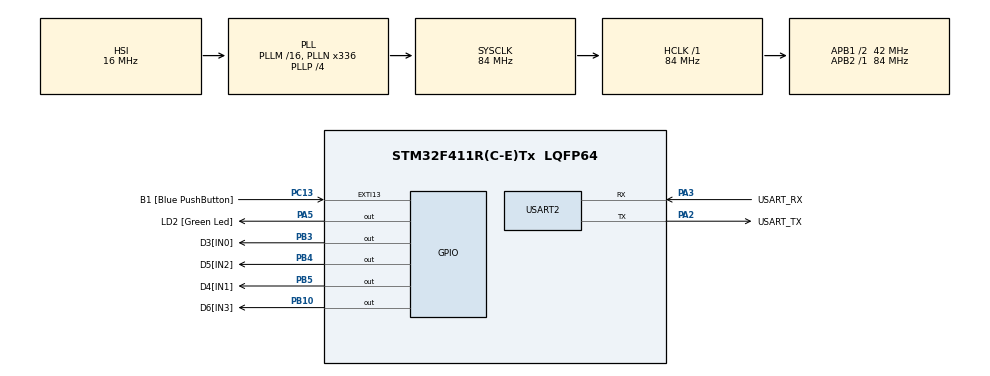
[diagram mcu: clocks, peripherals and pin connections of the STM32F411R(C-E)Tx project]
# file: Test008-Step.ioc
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Mcu.Family=STM32F4
Mcu.Name=STM32F411R(C-E)Tx
Mcu.Package=LQFP64
NVIC.PriorityGroup=NVIC_PRIORITYGROUP_0
PA13.GPIO_Label=TMS
PA13.Mode=Serial_Wire
PA13.Signal=SYS_JTMS-SWDIO
PA14.GPIO_Label=TCK
PA14.Mode=Serial_Wire
PA14.Signal=SYS_JTCK-SWCLK
PA2.GPIO_Label=USART_TX
PA2.Mode=Asynchronous
PA2.Signal=USART2_TX
PA3.GPIO_Label=USART_RX
PA3.Mode=Asynchronous
PA3.Signal=USART2_RX
PA5.GPIO_Label=LD2 [Green Led]
PA5.Signal=GPIO_Output
PB10.GPIO_Label=D6[IN3]
PB10.Signal=GPIO_Output
PB3.GPIO_Label=D3[IN0]
PB3.Signal=GPIO_Output
PB4.GPIO_Label=D5[IN2]
PB4.Signal=GPIO_Output
PB5.GPIO_Label=D4[IN1]
PB5.Signal=GPIO_Output
PC13-ANTI_TAMP.GPIO_Label=B1 [Blue PushButton]
PC13-ANTI_TAMP.GPIO_ModeDefaultEXTI=GPIO_MODE_IT_FALLING
PC13-ANTI_TAMP.Signal=GPXTI13
PC14-OSC32_IN.Mode=LSE-External-Oscillator
PC14-OSC32_IN.Signal=RCC_OSC32_IN
PC15-OSC32_OUT.Mode=LSE-External-Oscillator
PC15-OSC32_OUT.Signal=RCC_OSC32_OUT
PH0\ -\ OSC_IN.Mode=HSE-External-Clock-Source
PH0\ -\ OSC_IN.Signal=RCC_OSC_IN
PH1\ -\ OSC_OUT.Mode=HSE-External-Clock-Source
PH1\ -\ OSC_OUT.Signal=RCC_OSC_OUT
ProjectManager.HeapSize=0x200
ProjectManager.StackSize=0x400
ProjectManager.TargetToolchain=STM32CubeIDE
RCC.48MHZClocksFreq_Value=84000000
RCC.AHBFreq_Value=84000000
RCC.APB1CLKDivider=RCC_HCLK_DIV2
RCC.APB1Freq_Value=42000000
RCC.APB1TimFreq_Value=84000000
RCC.APB2Freq_Value=84000000
RCC.APB2TimFreq_Value=84000000
RCC.CortexFreq_Value=84000000
RCC.FLatency-AdvancedSettings=FLASH_LATENCY_2
RCC.HCLKFreq_Value=84000000
RCC.HSE_VALUE=8000000
RCC.HSI_VALUE=16000000
RCC.PLLN=336
RCC.PLLP=RCC_PLLP_DIV4
RCC.SYSCLKFreq_VALUE=84000000
RCC.SYSCLKSource=RCC_SYSCLKSOURCE_PLLCLK
RCC.VCOOutputFreq_Value=336000000
TIM2.Prescaler=84-1
USART2.VirtualMode=VM_ASYNC
VP_TIM2_VS_ClockSourceINT.Mode=Internal
board=NUCLEO-F411RE

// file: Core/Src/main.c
/* USER CODE BEGIN Header */
/**
  ******************************************************************************
  * @file           : main.c
  * @brief          : Main program body
  ******************************************************************************
  * @attention
  *
  * Copyright (c) 2025 STMicroelectronics.
  * All rights reserved.
  *
  * This software is licensed under terms that can be found in the LICENSE file
  * in the root directory of this software component.
  * If no LICENSE file comes with this software, it is provided AS-IS.
  *
  ******************************************************************************
  */
/* USER CODE END Header */
#include "main.h"

TIM_HandleTypeDef htim2;

UART_HandleTypeDef huart2;

void SystemClock_Config(void);
static void MX_GPIO_Init(void);
static void MX_USART2_UART_Init(void);
static void MX_TIM2_Init(void);

/* USER CODE BEGIN 0 */
void step_wave(int step)
{
		switch(step)
		{
		case 1:

			//step 1
			HAL_GPIO_WritePin(D3_GPIO_Port, D3_Pin, 1);
			HAL_GPIO_WritePin(D4_GPIO_Port, D4_Pin, 0);
			HAL_GPIO_WritePin(D5_GPIO_Port, D5_Pin, 0);
			HAL_GPIO_WritePin(D6_GPIO_Port, D6_Pin, 0);
			break;//instead delay

		case 2:
			//step 2
			HAL_GPIO_WritePin(D3_GPIO_Port, D3_Pin, 0);
			HAL_GPIO_WritePin(D4_GPIO_Port, D4_Pin, 1);
			HAL_GPIO_WritePin(D5_GPIO_Port, D5_Pin, 0);
			HAL_GPIO_WritePin(D6_GPIO_Port, D6_Pin, 0);
			break;//instead delay

		case 3:
			//step 3
			HAL_GPIO_WritePin(D3_GPIO_Port, D3_Pin, 0);
			HAL_GPIO_WritePin(D4_GPIO_Port, D4_Pin, 0);
			HAL_GPIO_WritePin(D5_GPIO_Port, D5_Pin, 1);
			HAL_GPIO_WritePin(D6_GPIO_Port, D6_Pin, 0);
			break;//instead delay

		case 4:
			//step 4
			HAL_GPIO_WritePin(D3_GPIO_Port, D3_Pin, 0);
			HAL_GPIO_WritePin(D4_GPIO_Port, D4_Pin, 0);
			HAL_GPIO_WritePin(D5_GPIO_Port, D5_Pin, 0);
			HAL_GPIO_WritePin(D6_GPIO_Port, D6_Pin, 1);
			break;//instead delay
		}
}

void step_full(int step)
{
		switch(step)
		{
		case 1:

			//step 1
			HAL_GPIO_WritePin(D3_GPIO_Port, D3_Pin, 1);
			HAL_GPIO_WritePin(D4_GPIO_Port, D4_Pin, 1);
			HAL_GPIO_WritePin(D5_GPIO_Port, D5_Pin, 0);
			HAL_GPIO_WritePin(D6_GPIO_Port, D6_Pin, 0);
			break;//instead delay

		case 2:
			//step 2
			HAL_GPIO_WritePin(D3_GPIO_Port, D3_Pin, 0);
			HAL_GPIO_WritePin(D4_GPIO_Port, D4_Pin, 1);
			HAL_GPIO_WritePin(D5_GPIO_Port, D5_Pin, 1);
			HAL_GPIO_WritePin(D6_GPIO_Port, D6_Pin, 0);
			break;//instead delay

		case 3:
			//step 3
			HAL_GPIO_WritePin(D3_GPIO_Port, D3_Pin, 0);
			HAL_GPIO_WritePin(D4_GPIO_Port, D4_Pin, 0);
			HAL_GPIO_WritePin(D5_GPIO_Port, D5_Pin, 1);
			HAL_GPIO_WritePin(D6_GPIO_Port, D6_Pin, 1);
			break;//instead delay

		case 4:
			//step 4
			HAL_GPIO_WritePin(D3_GPIO_Port, D3_Pin, 1);
			HAL_GPIO_WritePin(D4_GPIO_Port, D4_Pin, 0);
			HAL_GPIO_WritePin(D5_GPIO_Port, D5_Pin, 0);
			HAL_GPIO_WritePin(D6_GPIO_Port, D6_Pin, 1);
			break;//instead delay
		}
}

void step_half(int step)
{
		switch(step)
		{
		case 1:

			//step 1
			HAL_GPIO_WritePin(D3_GPIO_Port, D3_Pin, 1);
			HAL_GPIO_WritePin(D4_GPIO_Port, D4_Pin, 0);
			HAL_GPIO_WritePin(D5_GPIO_Port, D5_Pin, 0);
			HAL_GPIO_WritePin(D6_GPIO_Port, D6_Pin, 0);
			break;//instead delay

		case 2:
			//step 2
			HAL_GPIO_WritePin(D3_GPIO_Port, D3_Pin, 1);
			HAL_GPIO_WritePin(D4_GPIO_Port, D4_Pin, 1);
			HAL_GPIO_WritePin(D5_GPIO_Port, D5_Pin, 0);
			HAL_GPIO_WritePin(D6_GPIO_Port, D6_Pin, 0);
			break;//instead delay

		case 3:
			//step 3
			HAL_GPIO_WritePin(D3_GPIO_Port, D3_Pin, 0);
			HAL_GPIO_WritePin(D4_GPIO_Port, D4_Pin, 1);
			HAL_GPIO_WritePin(D5_GPIO_Port, D5_Pin, 0);
			HAL_GPIO_WritePin(D6_GPIO_Port, D6_Pin, 0);
			break;//instead delay

		case 4:
			//step 4
			HAL_GPIO_WritePin(D3_GPIO_Port, D3_Pin, 0);
			HAL_GPIO_WritePin(D4_GPIO_Port, D4_Pin, 1);
			HAL_GPIO_WritePin(D5_GPIO_Port, D5_Pin, 1);
			HAL_GPIO_WritePin(D6_GPIO_Port, D6_Pin, 0);
			break;//instead delay

		case 5:
			//step 5
			HAL_GPIO_WritePin(D3_GPIO_Port, D3_Pin, 0);
			HAL_GPIO_WritePin(D4_GPIO_Port, D4_Pin, 0);
			HAL_GPIO_WritePin(D5_GPIO_Port, D5_Pin, 1);
			HAL_GPIO_WritePin(D6_GPIO_Port, D6_Pin, 0);
			break;//instead delay

		case 6:
			//step 6
			HAL_GPIO_WritePin(D3_GPIO_Port, D3_Pin, 0);
			HAL_GPIO_WritePin(D4_GPIO_Port, D4_Pin, 0);
			HAL_GPIO_WritePin(D5_GPIO_Port, D5_Pin, 1);
			HAL_GPIO_WritePin(D6_GPIO_Port, D6_Pin, 1);
			break;//instead delay
		case 7:
			//step 7
			HAL_GPIO_WritePin(D3_GPIO_Port, D3_Pin, 0);
			HAL_GPIO_WritePin(D4_GPIO_Port, D4_Pin, 0);
			HAL_GPIO_WritePin(D5_GPIO_Port, D5_Pin, 0);
			HAL_GPIO_WritePin(D6_GPIO_Port, D6_Pin, 1);
			break;//instead delay
		case 8:
			//step 8
			HAL_GPIO_WritePin(D3_GPIO_Port, D3_Pin, 1);
			HAL_GPIO_WritePin(D4_GPIO_Port, D4_Pin, 0);
			HAL_GPIO_WritePin(D5_GPIO_Port, D5_Pin, 0);
			HAL_GPIO_WritePin(D6_GPIO_Port, D6_Pin, 1);
			break;//instead delay

		}
}
/* USER CODE END 0 */

int main(void)
{

  /* MCU Configuration--------------------------------------------------------*/

  /* Reset of all peripherals, Initializes the Flash interface and the Systick. */
  HAL_Init();

  /* Configure the system clock */
  SystemClock_Config();

  /* Initialize all configured peripherals */
  MX_GPIO_Init();
  MX_USART2_UART_Init();
  MX_TIM2_Init();
  /* USER CODE BEGIN 2 */
  ProgramStart("Step motor control");
  /* USER CODE END 2 */

  /* Infinite loop */
  /* USER CODE BEGIN WHILE */
  while (1)
  {
	//WAVE mode
	//step 1

//	for(int i=0; i<2048; i++)
//	{
//		step_wave((i%4)+1); HAL_Delay(1);
//		//step_full((i%4)+1); HAL_Delay(1);
//	}
	for(int i=0; i<4096; i++)
	{
			step_half((i%8)+1); HAL_Delay(1);
			//step_full((i%4)+1); HAL_Delay(1);
	}

	HAL_Delay(1000);
    /* USER CODE END WHILE */

  }
}

void SystemClock_Config(void)
{
  RCC_OscInitTypeDef RCC_OscInitStruct = {0};
  RCC_ClkInitTypeDef RCC_ClkInitStruct = {0};

  /** Configure the main internal regulator output voltage
  */
  __HAL_RCC_PWR_CLK_ENABLE();
  __HAL_PWR_VOLTAGESCALING_CONFIG(PWR_REGULATOR_VOLTAGE_SCALE1);

  /** Initializes the RCC Oscillators according to the specified parameters
  * in the RCC_OscInitTypeDef structure.
  */
  RCC_OscInitStruct.OscillatorType = RCC_OSCILLATORTYPE_HSI;
  RCC_OscInitStruct.HSIState = RCC_HSI_ON;
  RCC_OscInitStruct.HSICalibrationValue = RCC_HSICALIBRATION_DEFAULT;
  RCC_OscInitStruct.PLL.PLLState = RCC_PLL_ON;
  RCC_OscInitStruct.PLL.PLLSource = RCC_PLLSOURCE_HSI;
  RCC_OscInitStruct.PLL.PLLM = 16;
  RCC_OscInitStruct.PLL.PLLN = 336;
  RCC_OscInitStruct.PLL.PLLP = RCC_PLLP_DIV4;
  RCC_OscInitStruct.PLL.PLLQ = 4;
  if (HAL_RCC_OscConfig(&RCC_OscInitStruct) != HAL_OK)
  {
    Error_Handler();
  }

  /** Initializes the CPU, AHB and APB buses clocks
  */
  RCC_ClkInitStruct.ClockType = RCC_CLOCKTYPE_HCLK|RCC_CLOCKTYPE_SYSCLK
                              |RCC_CLOCKTYPE_PCLK1|RCC_CLOCKTYPE_PCLK2;
  RCC_ClkInitStruct.SYSCLKSource = RCC_SYSCLKSOURCE_PLLCLK;
  RCC_ClkInitStruct.AHBCLKDivider = RCC_SYSCLK_DIV1;
  RCC_ClkInitStruct.APB1CLKDivider = RCC_HCLK_DIV2;
  RCC_ClkInitStruct.APB2CLKDivider = RCC_HCLK_DIV1;

  if (HAL_RCC_ClockConfig(&RCC_ClkInitStruct, FLASH_LATENCY_2) != HAL_OK)
  {
    Error_Handler();
  }
}

static void MX_TIM2_Init(void)
{

  TIM_ClockConfigTypeDef sClockSourceConfig = {0};
  TIM_MasterConfigTypeDef sMasterConfig = {0};

  htim2.Instance = TIM2;
  htim2.Init.Prescaler = 84-1;
  htim2.Init.CounterMode = TIM_COUNTERMODE_UP;
  htim2.Init.Period = 4294967295;
  htim2.Init.ClockDivision = TIM_CLOCKDIVISION_DIV1;
  htim2.Init.AutoReloadPreload = TIM_AUTORELOAD_PRELOAD_DISABLE;
  if (HAL_TIM_Base_Init(&htim2) != HAL_OK)
  {
    Error_Handler();
  }
  sClockSourceConfig.ClockSource = TIM_CLOCKSOURCE_INTERNAL;
  if (HAL_TIM_ConfigClockSource(&htim2, &sClockSourceConfig) != HAL_OK)
  {
    Error_Handler();
  }
  sMasterConfig.MasterOutputTrigger = TIM_TRGO_RESET;
  sMasterConfig.MasterSlaveMode = TIM_MASTERSLAVEMODE_DISABLE;
  if (HAL_TIMEx_MasterConfigSynchronization(&htim2, &sMasterConfig) != HAL_OK)
  {
    Error_Handler();
  }

}

static void MX_USART2_UART_Init(void)
{

  huart2.Instance = USART2;
  huart2.Init.BaudRate = 115200;
  huart2.Init.WordLength = UART_WORDLENGTH_8B;
  huart2.Init.StopBits = UART_STOPBITS_1;
  huart2.Init.Parity = UART_PARITY_NONE;
  huart2.Init.Mode = UART_MODE_TX_RX;
  huart2.Init.HwFlowCtl = UART_HWCONTROL_NONE;
  huart2.Init.OverSampling = UART_OVERSAMPLING_16;
  if (HAL_UART_Init(&huart2) != HAL_OK)
  {
    Error_Handler();
  }

}

static void MX_GPIO_Init(void)
{
  GPIO_InitTypeDef GPIO_InitStruct = {0};

  /* GPIO Ports Clock Enable */
  __HAL_RCC_GPIOC_CLK_ENABLE();
  __HAL_RCC_GPIOH_CLK_ENABLE();
  __HAL_RCC_GPIOA_CLK_ENABLE();
  __HAL_RCC_GPIOB_CLK_ENABLE();

  /*Configure GPIO pin Output Level */
  HAL_GPIO_WritePin(LD2_GPIO_Port, LD2_Pin, GPIO_PIN_RESET);

  /*Configure GPIO pin Output Level */
  HAL_GPIO_WritePin(GPIOB, D6_Pin|D3_Pin|D5_Pin|D4_Pin, GPIO_PIN_RESET);

  /*Configure GPIO pin : B1_Pin */
  GPIO_InitStruct.Pin = B1_Pin;
  GPIO_InitStruct.Mode = GPIO_MODE_IT_FALLING;
  GPIO_InitStruct.Pull = GPIO_NOPULL;
  HAL_GPIO_Init(B1_GPIO_Port, &GPIO_InitStruct);

  /*Configure GPIO pin : LD2_Pin */
  GPIO_InitStruct.Pin = LD2_Pin;
  GPIO_InitStruct.Mode = GPIO_MODE_OUTPUT_PP;
  GPIO_InitStruct.Pull = GPIO_NOPULL;
  GPIO_InitStruct.Speed = GPIO_SPEED_FREQ_LOW;
  HAL_GPIO_Init(LD2_GPIO_Port, &GPIO_InitStruct);

  /*Configure GPIO pins : D6_Pin D3_Pin D5_Pin D4_Pin */
  GPIO_InitStruct.Pin = D6_Pin|D3_Pin|D5_Pin|D4_Pin;
  GPIO_InitStruct.Mode = GPIO_MODE_OUTPUT_PP;
  GPIO_InitStruct.Pull = GPIO_NOPULL;
  GPIO_InitStruct.Speed = GPIO_SPEED_FREQ_LOW;
  HAL_GPIO_Init(GPIOB, &GPIO_InitStruct);

}

void Error_Handler(void)
{
  __disable_irq();
  while (1)
  {
  }
}
